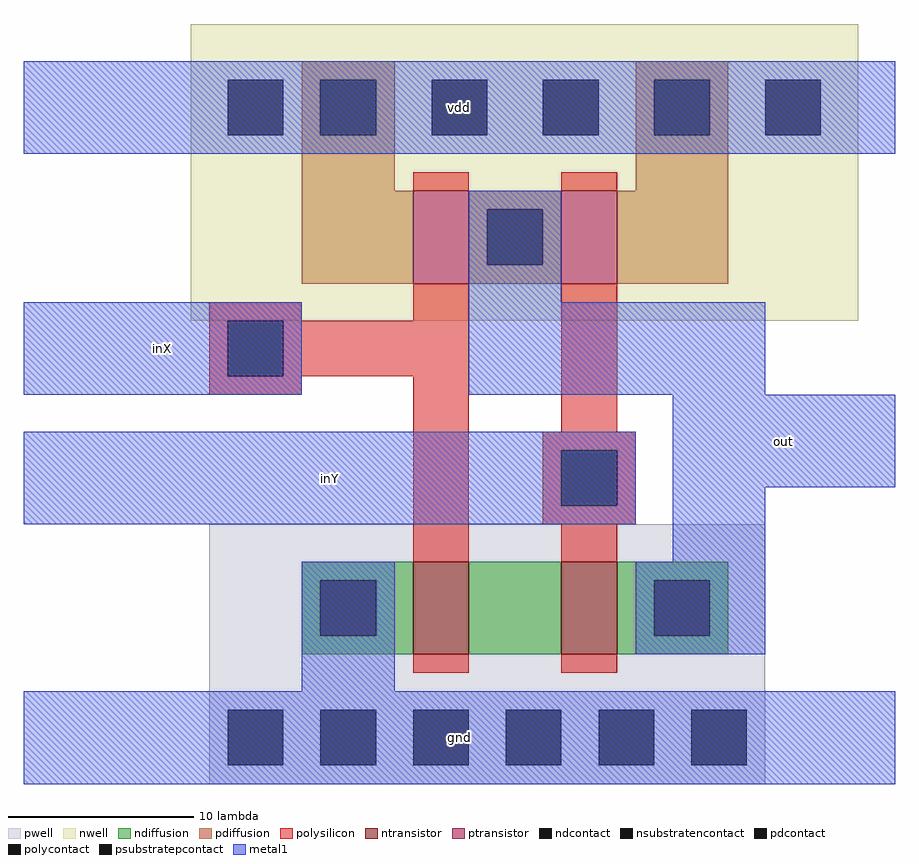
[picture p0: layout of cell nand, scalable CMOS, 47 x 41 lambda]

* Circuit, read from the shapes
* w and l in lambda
.subckt nand gnd inX inY out vdd
M1 n1 inX gnd gnd nfet w=5 l=3
M2 out inY n1 gnd nfet w=5 l=3
M3 out inX vdd vdd pfet w=5 l=3
M4 vdd inY out vdd pfet w=5 l=3
.ends

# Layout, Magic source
magic
tech scmos
<< nwell >>
rect 9 196 45 212
<< pwell >>
rect 10 171 40 185
<< polysilicon >>
rect 21 203 24 204
rect 29 203 32 204
rect 21 196 24 198
rect 29 190 32 198
rect 10 196 15 197
rect 10 193 11 196
rect 14 193 24 196
rect 10 192 15 193
rect 21 183 24 193
rect 28 189 33 190
rect 28 186 29 189
rect 32 186 33 189
rect 28 185 33 186
rect 29 183 32 185
rect 21 177 24 178
rect 29 177 32 178
<< ndiffusion >>
rect 15 182 21 183
rect 24 178 29 183
rect 32 182 38 183
rect 15 179 16 182
rect 19 179 21 182
rect 32 179 34 182
rect 37 179 38 182
rect 15 178 21 179
rect 32 178 38 179
<< pdiffusion >>
rect 15 209 20 210
rect 33 209 38 210
rect 15 206 16 209
rect 19 206 20 209
rect 33 206 34 209
rect 37 206 38 209
rect 15 203 20 206
rect 33 203 38 206
rect 15 198 21 203
rect 24 202 29 203
rect 32 198 38 203
rect 24 199 25 202
rect 28 199 29 202
rect 24 198 29 199
<< ntransistor >>
rect 21 178 24 183
rect 29 178 32 183
<< ptransistor >>
rect 21 198 24 203
rect 29 198 32 203
<< polycontact >>
rect 11 193 14 196
rect 29 186 32 189
<< ndcontact >>
rect 16 179 19 182
rect 34 179 37 182
<< pdcontact >>
rect 16 206 19 209
rect 34 206 37 209
rect 25 199 28 202
<< nsubstratencontact >>
rect 11 206 14 209
rect 22 206 25 209
rect 28 206 31 209
rect 40 206 43 209
<< psubstratepcontact >>
rect 11 172 14 175
rect 16 172 19 175
rect 21 172 24 175
rect 26 172 29 175
rect 31 172 34 175
rect 36 172 39 175
<< metal1 >>
rect 0 205 47 210
rect 24 197 29 203
rect 0 192 15 197
rect 24 192 40 197
rect 35 187 47 192
rect 0 185 33 190
rect 35 183 40 187
rect 15 176 20 183
rect 33 178 40 183
rect 0 171 47 176
<< labels >>
rlabel metal1 0 205 47 210 1 vdd
rlabel metal1 0 171 47 176 1 gnd
rlabel metal1 0 192 15 197 1 inX
rlabel metal1 0 185 33 190 1 inY
rlabel metal1 35 187 47 192 1 out
<< end >>
